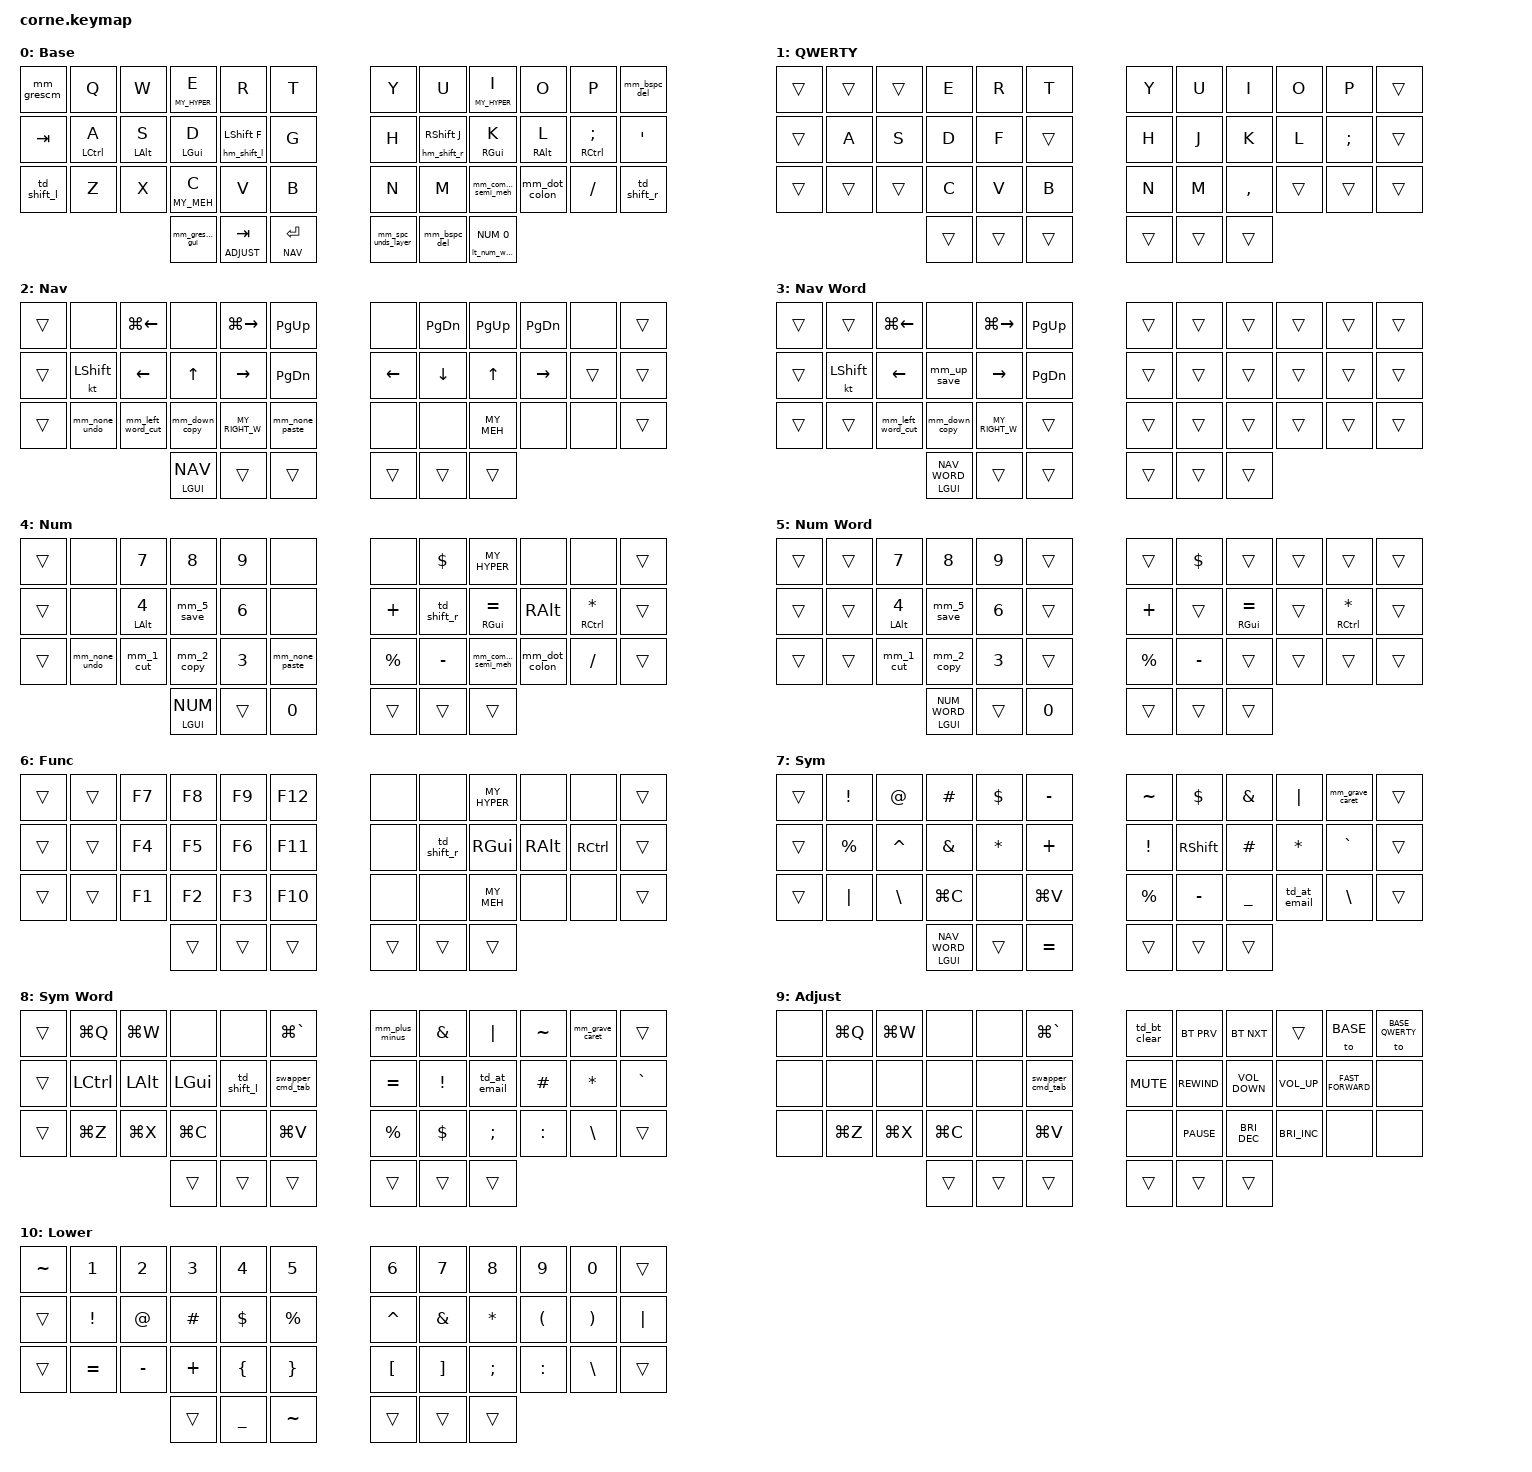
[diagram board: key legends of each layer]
/*
 * Copyright (c) 2020 The ZMK Contributors
 *
 * SPDX-License-Identifier: MIT
 */

// Define layer numbers
#define BASE 0
#define BASE_QWERTY 1
#define NAV 2
#define NAV_WORD 3
#define NUM 4
#define NUM_WORD 5
#define FUNC 6
#define SYM 7
#define SYM_WORD 8
#define ADJUST 9
#define LOWER 10

// ZMK includes
#include <behaviors.dtsi>
#include <dt-bindings/zmk/keys.h>
#include <dt-bindings/zmk/bt.h>
// #include <dt-bindings/zmk/rgb.h>
// #include <dt-bindings/zmk/ext_power.h>

// Personal includes
#include "includes/custom_keycodes.dtsi"
#include "includes/settings.dtsi"
//#include "includes/settings_pd.dtsi"
#include "includes/conditional_layers.dtsi"
#include "includes/macros.dtsi"
#include "includes/combos.dtsi"
#include "includes/behaviours_homerow_mods.dtsi"
#include "includes/behaviours_mod_morph.dtsi"
#include "includes/behaviours_other.dtsi"


/ {

  keymap {
    compatible = "zmk,keymap";

    Base_layer {
      label = "Base";
      bindings = <
// ╭────────────────────────╮ ╭────────────────────────┬────────────────────────┬────────────────────────┬────────────────────────┬────────────────────────╮    ╭────────────────────────┬────────────────────────┬────────────────────────┬────────────────────────┬────────────────────────╮ ╭────────────────────────╮
     &mm_grescm                 &kp Q                    &kp W                    &hm_l MY_HYPER E         &kp R                       &kp T                             &kp Y                    &kp U                   &hm_r MY_HYPER I        &kp O                   &kp P                        &mm_bspc_del
// ├────────────────────────┤ ├────────────────────────┼────────────────────────┼────────────────────────┼────────────────────────┼────────────────────────┤    ├────────────────────────┼────────────────────────┼────────────────────────┼────────────────────────┼────────────────────────┤ ├────────────────────────┤
     &kp TAB                    &hm_l LCTRL A            &hm_l LALT S             &hm_l LGUI D             &hm_shift_l LSHFT F      &kp G                            &kp H                   &hm_shift_r RSHFT J      &hm_r RGUI K             &hm_r RALT L             &hm_r RCTRL SEMI              &kp SINGLE_QUOTE
// ├────────────────────────┤ ├────────────────────────┼────────────────────────┼────────────────────────┼────────────────────────┼────────────────────────┤    ├────────────────────────┼────────────────────────┼────────────────────────┼────────────────────────┼────────────────────────┤ ├────────────────────────┤
     &td_shift_l                &kp Z                    &kp X                    &hm_l MY_MEH C           &kp V                    &kp B                            &kp N                    &kp M                    &mm_comma_semi_meh       &mm_dot_colon            &kp SLASH                  &td_shift_r
// ╰────────────────────────╯ ╰────────────────────────┴────────────────────────┴────────────────────────┼────────────────────────┼────────────────────────┤    ├────────────────────────┼────────────────────────┼────────────────────────┼────────────────────────┴────────────────────────╯ ╰────────────────────────╯
                                                                                  &mm_grescm_gui                 &lt ADJUST TAB         &lt NAV RETURN              &mm_spc_unds_layer       &mm_bspc_del              &lt_num_word NUM 0
//                                                                              ╰────────────────────────┴────────────────────────┴────────────────────────╯    ╰────────────────────────┴────────────────────────┴────────────────────────╯

      > ;
     //  sensor-bindings = <&inc_dec_kp C_VOL_DN C_VOL_UP &inc_dec_kp C_PREV C_NEXT>;
    };

    Base_Qwerty_layer {
      label = "QWERTY";
      bindings = <
// ╭────────────────────────╮ ╭────────────────────────┬────────────────────────┬────────────────────────┬────────────────────────┬────────────────────────╮    ╭────────────────────────┬────────────────────────┬────────────────────────┬────────────────────────┬────────────────────────╮ ╭────────────────────────╮
     &trans                     &trans                   &trans                   &kp E                    &kp R                    &kp T                         &kp Y                    &kp U                    &kp I                    &kp O                    &kp P                      &trans
// ├────────────────────────┤ ├────────────────────────┼────────────────────────┼────────────────────────┼────────────────────────┼────────────────────────┤    ├────────────────────────┼────────────────────────┼────────────────────────┼────────────────────────┼────────────────────────┤ ├────────────────────────┤
     &trans                     &kp A                    &kp S                    &kp D                    &kp F                    &trans                        &kp H                    &kp J                    &kp K                    &kp L                    &kp SEMICOLON              &trans
// ├────────────────────────┤ ├────────────────────────┼────────────────────────┼────────────────────────┼────────────────────────┼────────────────────────┤    ├────────────────────────┼────────────────────────┼────────────────────────┼────────────────────────┼────────────────────────┤ ├────────────────────────┤
     &trans                     &trans                   &trans                   &kp C                    &kp V                    &kp B                         &kp N                    &kp M                    &kp COMMA                &trans                   &trans                     &trans
// ╰────────────────────────╯ ╰────────────────────────┴────────────────────────┴────────────────────────┼────────────────────────┼────────────────────────┤    ├────────────────────────┼────────────────────────┼────────────────────────┼────────────────────────┴────────────────────────╯ ╰────────────────────────╯
                                                                                  &trans                   &trans                   &trans                        &trans                   &trans                   &trans
//                                                                              ╰────────────────────────┴────────────────────────┴────────────────────────╯    ╰────────────────────────┴────────────────────────┴────────────────────────╯
      >;
    };

    Nav_layer {
      label = "Nav";
      bindings = <
// ╭────────────────────────╮ ╭────────────────────────┬────────────────────────┬────────────────────────┬────────────────────────┬────────────────────────╮    ╭────────────────────────┬────────────────────────┬────────────────────────┬────────────────────────┬────────────────────────╮ ╭────────────────────────╮
     &trans                     &none                    &kp LG(LEFT)             &none                    &kp LG(RIGHT)            &kp PG_UP                     &none                    &kp PAGE_DOWN            &kp PAGE_UP                &kp PAGE_DOWN                    &none                      &trans
// ├────────────────────────┤ ├────────────────────────┼────────────────────────┼────────────────────────┼────────────────────────┼────────────────────────┤    ├────────────────────────┼────────────────────────┼────────────────────────┼────────────────────────┼────────────────────────┤ ├────────────────────────┤
     &trans                     &kt LSHFT                &kp LEFT                 &kp UP                   &kp RIGHT                &kp PG_DN                        &kp LEFT                     &kp DOWN                   &kp UP           &kp RIGHT                &trans                      &trans
// ├────────────────────────┤ ├────────────────────────┼────────────────────────┼────────────────────────┼────────────────────────┼────────────────────────┤    ├────────────────────────┼────────────────────────┼────────────────────────┼────────────────────────┼────────────────────────┤ ├────────────────────────┤
     &trans                     &mm_none_undo            &mm_left_word_cut        &mm_down_copy            &kp MY_RIGHT_W           &mm_none_paste                &none                    &none                    &kp MY_MEH              &none                    &none                      &trans
// ╰────────────────────────╯ ╰────────────────────────┴────────────────────────┴────────────────────────┼────────────────────────┼────────────────────────┤    ├────────────────────────┼────────────────────────┼────────────────────────┼────────────────────────┴────────────────────────╯ ╰────────────────────────╯
                                                                                  &ltog LGUI NAV           &trans                   &trans                        &trans                   &trans                   &trans
//                                                                              ╰────────────────────────┴────────────────────────┴────────────────────────╯    ╰────────────────────────┴────────────────────────┴────────────────────────╯
      >;
     //  sensor-bindings = <&inc_dec_kp C_BRI_DN C_BRI_UP &inc_dec_kp LEFT RIGHT>;
    };

    Nav_Word_layer {
      label = "Nav Word";
      bindings = <
// ╭────────────────────────╮ ╭────────────────────────┬────────────────────────┬────────────────────────┬────────────────────────┬────────────────────────╮    ╭────────────────────────┬────────────────────────┬────────────────────────┬────────────────────────┬────────────────────────╮ ╭────────────────────────╮
     &trans                     &trans                   &kp LG(LEFT)             &none                    &kp LG(RIGHT)            &kp PG_UP                     &trans                   &trans                   &trans                   &trans                   &trans                     &trans
// ├────────────────────────┤ ├────────────────────────┼────────────────────────┼────────────────────────┼────────────────────────┼────────────────────────┤    ├────────────────────────┼────────────────────────┼────────────────────────┼────────────────────────┼────────────────────────┤ ├────────────────────────┤
     &trans                     &kt LSHFT                &kp LEFT                 &mm_up_save              &kp RIGHT                &kp PG_DN                     &trans                   &trans                   &trans                   &trans                   &trans                     &trans
// ├────────────────────────┤ ├────────────────────────┼────────────────────────┼────────────────────────┼────────────────────────┼────────────────────────┤    ├────────────────────────┼────────────────────────┼────────────────────────┼────────────────────────┼────────────────────────┤ ├────────────────────────┤
     &trans                     &trans                   &mm_left_word_cut        &mm_down_copy            &kp MY_RIGHT_W           &trans                        &trans                   &trans                   &trans                   &trans                   &trans                     &trans
// ╰────────────────────────╯ ╰────────────────────────┴────────────────────────┴────────────────────────┼────────────────────────┼────────────────────────┤    ├────────────────────────┼────────────────────────┼────────────────────────┼────────────────────────┴────────────────────────╯ ╰────────────────────────╯
                                                                                  &ltog LGUI NAV_WORD      &trans                   &trans                        &trans                   &trans                   &trans
//                                                                              ╰────────────────────────┴────────────────────────┴────────────────────────╯    ╰────────────────────────┴────────────────────────┴────────────────────────╯
      >;
     //  sensor-bindings = <&inc_dec_kp C_BRI_DN C_BRI_UP &inc_dec_kp LEFT RIGHT>;
    };

    Num_layer {
      label = "Num";
      bindings = <
// ╭────────────────────────╮ ╭────────────────────────┬────────────────────────┬────────────────────────┬────────────────────────┬────────────────────────╮    ╭────────────────────────┬────────────────────────┬────────────────────────┬────────────────────────┬────────────────────────╮ ╭────────────────────────╮
     &trans                     &none                    &kp NUMBER_7             &kp NUMBER_8             &kp NUMBER_9             &none                         &none                    &kp DOLLAR               &kp MY_HYPER             &none                    &none                      &trans
// ├────────────────────────┤ ├────────────────────────┼────────────────────────┼────────────────────────┼────────────────────────┼────────────────────────┤    ├────────────────────────┼────────────────────────┼────────────────────────┼────────────────────────┼────────────────────────┤ ├────────────────────────┤
     &trans                     &none                    &hm_l LALT NUMBER_4      &mm_5_save               &kp NUMBER_6             &none                         &kp PLUS                 &td_shift_r              &hm_r RGUI EQUAL         &kp RIGHT_ALT            &hm_r RCTRL ASTERISK       &trans
// ├────────────────────────┤ ├────────────────────────┼────────────────────────┼────────────────────────┼────────────────────────┼────────────────────────┤    ├────────────────────────┼────────────────────────┼────────────────────────┼────────────────────────┼────────────────────────┤ ├────────────────────────┤
     &trans                     &mm_none_undo            &mm_1_cut                &mm_2_copy               &kp NUMBER_3             &mm_none_paste                &kp PERCENT              &kp MINUS                &mm_comma_semi_meh       &mm_dot_colon            &kp SLASH                  &trans
// ╰────────────────────────╯ ╰────────────────────────┴────────────────────────┴────────────────────────┼────────────────────────┼────────────────────────┤    ├────────────────────────┼────────────────────────┼────────────────────────┼────────────────────────┴────────────────────────╯ ╰────────────────────────╯
                                                                                  &ltog LGUI NUM           &trans                   &kp NUMBER_0                  &trans                   &trans                   &trans
//                                                                              ╰────────────────────────┴────────────────────────┴────────────────────────╯    ╰────────────────────────┴────────────────────────┴────────────────────────╯
      >;
     //  sensor-bindings = <&inc_dec_kp C_BRI_DN C_BRI_UP &inc_dec_kp LEFT RIGHT>;
    };

    Num_Word_layer {
      label = "Num Word";
      bindings = <
// ╭────────────────────────╮ ╭────────────────────────┬────────────────────────┬────────────────────────┬────────────────────────┬────────────────────────╮    ╭────────────────────────┬────────────────────────┬────────────────────────┬────────────────────────┬────────────────────────╮ ╭────────────────────────╮
     &trans                     &trans                   &kp NUMBER_7             &kp NUMBER_8             &kp NUMBER_9             &trans                        &trans                   &kp DOLLAR               &trans                   &trans                   &trans                     &trans
// ├────────────────────────┤ ├────────────────────────┼────────────────────────┼────────────────────────┼────────────────────────┼────────────────────────┤    ├────────────────────────┼────────────────────────┼────────────────────────┼────────────────────────┼────────────────────────┤ ├────────────────────────┤
     &trans                     &trans                   &hm_l LALT NUMBER_4      &mm_5_save               &kp NUMBER_6             &trans                        &kp PLUS                 &trans                   &hm_r RGUI EQUAL         &trans                   &hm_r RCTRL ASTERISK       &trans
// ├────────────────────────┤ ├────────────────────────┼────────────────────────┼────────────────────────┼────────────────────────┼────────────────────────┤    ├────────────────────────┼────────────────────────┼────────────────────────┼────────────────────────┼────────────────────────┤ ├────────────────────────┤
     &trans                     &trans                   &mm_1_cut                &mm_2_copy               &kp NUMBER_3             &trans                        &kp PERCENT              &kp MINUS                &trans                   &trans                   &trans                     &trans
// ╰────────────────────────╯ ╰────────────────────────┴────────────────────────┴────────────────────────┼────────────────────────┼────────────────────────┤    ├────────────────────────┼────────────────────────┼────────────────────────┼────────────────────────┴────────────────────────╯ ╰────────────────────────╯
                                                                                  &ltog LGUI NUM_WORD      &trans                   &kp NUMBER_0                  &trans                   &trans                   &trans
//                                                                              ╰────────────────────────┴────────────────────────┴────────────────────────╯    ╰────────────────────────┴────────────────────────┴────────────────────────╯
      >;
     //  sensor-bindings = <&inc_dec_kp C_BRI_DN C_BRI_UP &inc_dec_kp LEFT RIGHT>;
    };

    Func_layer {
      label = "Func";
      bindings = <
// ╭────────────────────────╮ ╭────────────────────────┬────────────────────────┬────────────────────────┬────────────────────────┬────────────────────────╮    ╭────────────────────────┬────────────────────────┬────────────────────────┬────────────────────────┬────────────────────────╮ ╭────────────────────────╮
        &trans                  &trans                   &kp F7                   &kp F8                   &kp F9                   &kp F12                       &none                    &none                    &kp MY_HYPER             &none                    &none                      &trans
// ├────────────────────────┤ ├────────────────────────┼────────────────────────┼────────────────────────┼────────────────────────┼────────────────────────┤    ├────────────────────────┼────────────────────────┼────────────────────────┼────────────────────────┼────────────────────────┤ ├────────────────────────┤
        &trans                  &trans                   &kp F4                   &kp F5                   &kp F6                   &kp F11                       &none                    &td_shift_r              &kp RIGHT_GUI            &kp RIGHT_ALT            &kp RIGHT_CONTROL          &trans
// ├────────────────────────┤ ├────────────────────────┼────────────────────────┼────────────────────────┼────────────────────────┼────────────────────────┤    ├────────────────────────┼────────────────────────┼────────────────────────┼────────────────────────┼────────────────────────┤ ├────────────────────────┤
        &trans                  &trans                   &kp F1                   &kp F2                   &kp F3                   &kp F10                       &none                    &none                    &kp MY_MEH               &none                    &none                      &trans
// ╰────────────────────────╯ ╰────────────────────────┴────────────────────────┴────────────────────────┼────────────────────────┼────────────────────────┤    ├────────────────────────┼────────────────────────┼────────────────────────┼────────────────────────┴────────────────────────╯ ╰────────────────────────╯
                                                                                  &trans                   &trans                   &trans                        &trans                   &trans                   &trans
//                                                                              ╰────────────────────────┴────────────────────────┴────────────────────────╯    ╰────────────────────────┴────────────────────────┴────────────────────────╯
      >;
     //  sensor-bindings = <&inc_dec_kp C_BRI_DN C_BRI_UP &inc_dec_kp LEFT RIGHT>;
    };

    Sym_layer {
      label = "Sym";
      bindings = <
// ╭────────────────────────╮ ╭────────────────────────┬────────────────────────┬────────────────────────┬────────────────────────┬────────────────────────╮    ╭────────────────────────┬────────────────────────┬────────────────────────┬────────────────────────┬────────────────────────╮ ╭────────────────────────╮
     &trans                     &kp EXCLAMATION               &kp AT_SIGN               &kp HASH                    &kp DOLLAR              &kp MINUS                 &kp TILDE                &kp DOLLAR               &kp AMPERSAND            &kp PIPE                 &mm_grave_caret            &trans
// ├────────────────────────┤ ├────────────────────────┼────────────────────────┼────────────────────────┼────────────────────────┼────────────────────────┤    ├────────────────────────┼────────────────────────┼────────────────────────┼────────────────────────┼────────────────────────┤ ├────────────────────────┤
     &trans                     &kp PERCENT                  &kp CARET             &kp AMPERSAND             &kp ASTERISK              &kp PLUS                     &kp EXCLAMATION          &kp RSHFT                &kp HASH                 &kp ASTERISK               &kp GRAVE                    &trans
// ├────────────────────────┤ ├────────────────────────┼────────────────────────┼────────────────────────┼────────────────────────┼────────────────────────┤    ├────────────────────────┼────────────────────────┼────────────────────────┼────────────────────────┼────────────────────────┤ ├────────────────────────┤
     &trans                     &kp PIPE                &kp BACKSLASH                 &kp LG(C)                &none                       &kp LG(V)                         &kp PERCENT              &kp MINUS                &kp UNDERSCORE           &td_at_email             &kp BACKSLASH              &trans
// ╰────────────────────────╯ ╰────────────────────────┴────────────────────────┴────────────────────────┼────────────────────────┼────────────────────────┤    ├────────────────────────┼────────────────────────┼────────────────────────┼────────────────────────┴────────────────────────╯ ╰────────────────────────╯
                                                                                  &ltog LGUI NAV_WORD      &trans                   &kp EQUAL                        &trans                   &trans                   &trans
//                                                                              ╰────────────────────────┴────────────────────────┴────────────────────────╯    ╰────────────────────────┴────────────────────────┴────────────────────────╯
      >;
     //  sensor-bindings = <&inc_dec_kp C_BRI_DN C_BRI_UP &inc_dec_kp LEFT RIGHT>;
    };

    Sym_Word_layer {
      label = "Sym Word";
      bindings = <
// ╭────────────────────────╮ ╭────────────────────────┬────────────────────────┬────────────────────────┬────────────────────────┬────────────────────────╮    ╭────────────────────────┬────────────────────────┬────────────────────────┬────────────────────────┬────────────────────────╮ ╭────────────────────────╮
     &trans                     &kp LG(Q)                &kp LG(W)                &none                    &none                    &kp LG(GRAVE)                 &mm_plus_minus           &kp AMPERSAND            &kp PIPE                 &kp TILDE                &mm_grave_caret            &trans
// ├────────────────────────┤ ├────────────────────────┼────────────────────────┼────────────────────────┼────────────────────────┼────────────────────────┤    ├────────────────────────┼────────────────────────┼────────────────────────┼────────────────────────┼────────────────────────┤ ├────────────────────────┤
     &trans                     &kp LEFT_CONTROL         &kp LEFT_ALT             &kp LEFT_GUI             &td_shift_l              &swapper_cmd_tab              &kp EQUAL                &kp EXCLAMATION          &td_at_email             &kp HASH                 &kp ASTERISK               &kp GRAVE
// ├────────────────────────┤ ├────────────────────────┼────────────────────────┼────────────────────────┼────────────────────────┼────────────────────────┤    ├────────────────────────┼────────────────────────┼────────────────────────┼────────────────────────┼────────────────────────┤ ├────────────────────────┤
     &trans                     &kp LG(Z)                &kp LG(X)                &kp LG(C)                &none                    &kp LG(V)                     &kp PERCENT              &kp DOLLAR               &kp SEMICOLON            &kp COLON                &kp BACKSLASH              &trans
// ╰────────────────────────╯ ╰────────────────────────┴────────────────────────┴────────────────────────┼────────────────────────┼────────────────────────┤    ├────────────────────────┼────────────────────────┼────────────────────────┼────────────────────────┴────────────────────────╯ ╰────────────────────────╯
                                                                                  &trans                   &trans                   &trans                        &trans                   &trans                   &trans
//                                                                              ╰────────────────────────┴────────────────────────┴────────────────────────╯    ╰────────────────────────┴────────────────────────┴────────────────────────╯
      >;
     //  sensor-bindings = <&inc_dec_kp C_BRI_DN C_BRI_UP &inc_dec_kp LEFT RIGHT>;
    };

    Adjust_layer {
      label = "Adjust";
      bindings = <
// ╭────────────────────────╮ ╭────────────────────────┬────────────────────────┬────────────────────────┬────────────────────────┬────────────────────────╮    ╭────────────────────────┬────────────────────────┬────────────────────────┬────────────────────────┬────────────────────────╮ ╭────────────────────────╮
     &none                      &kp LG(Q)                &kp LG(W)                &none                    &none                    &kp LG(GRAVE)                 &td_bt_clear             &bt BT_PRV               &bt BT_NXT               &trans                            &to BASE            &to BASE_QWERTY
// ├────────────────────────┤ ├────────────────────────┼────────────────────────┼────────────────────────┼────────────────────────┼────────────────────────┤    ├────────────────────────┼────────────────────────┼────────────────────────┼────────────────────────┼────────────────────────┤ ├────────────────────────┤
     &none                      &none                    &none                    &none                    &none                    &swapper_cmd_tab              &kp C_MUTE               &kp C_REWIND             &kp C_VOLUME_DOWN        &kp C_VOLUME_UP          &kp C_FAST_FORWARD         &none

// ├────────────────────────┤ ├────────────────────────┼────────────────────────┼────────────────────────┼────────────────────────┼────────────────────────┤    ├────────────────────────┼────────────────────────┼────────────────────────┼────────────────────────┼────────────────────────┤ ├────────────────────────┤
     &none                      &kp LG(Z)                &kp LG(X)                &kp LG(C)                &none                    &kp LG(V)                     &none                    &kp C_PAUSE              &kp C_BRIGHTNESS_DEC     &kp C_BRIGHTNESS_INC     &none                      &none

// ╰────────────────────────╯ ╰────────────────────────┴────────────────────────┴────────────────────────┼────────────────────────┼────────────────────────┤    ├────────────────────────┼────────────────────────┼────────────────────────┼────────────────────────┴────────────────────────╯ ╰────────────────────────╯
                                                                                  &trans                   &trans                   &trans                        &trans                   &trans                   &trans
//                                                                              ╰────────────────────────┴────────────────────────┴────────────────────────╯    ╰────────────────────────┴────────────────────────┴────────────────────────╯
      >;
     //  sensor-bindings = <&inc_dec_kp C_BRI_DN C_BRI_UP &inc_dec_kp LEFT RIGHT>;
    };

    Lower_layer {
      label = "Lower";
      bindings = <
// ╭────────────────────────╮ ╭────────────────────────┬────────────────────────┬────────────────────────┬────────────────────────┬────────────────────────╮    ╭────────────────────────┬────────────────────────┬────────────────────────┬────────────────────────┬────────────────────────╮ ╭────────────────────────╮
     &kp TILDE                  &kp NUMBER_1             &kp NUMBER_2             &kp NUMBER_3             &kp NUMBER_4             &kp NUMBER_5                  &kp NUMBER_6             &kp NUMBER_7             &kp NUMBER_8             &kp NUMBER_9             &kp NUMBER_0               &trans

// ├────────────────────────┤ ├────────────────────────┼────────────────────────┼────────────────────────┼────────────────────────┼────────────────────────┤    ├────────────────────────┼────────────────────────┼────────────────────────┼────────────────────────┼────────────────────────┤ ├────────────────────────┤
     &trans                     &kp EXCLAMATION          &kp AT_SIGN              &kp HASH                 &kp DOLLAR               &kp PERCENT                   &kp CARET                &kp AMPERSAND            &kp ASTERISK             &kp LEFT_PARENTHESIS     &kp RIGHT_PARENTHESIS      &kp PIPE

// ├────────────────────────┤ ├────────────────────────┼────────────────────────┼────────────────────────┼────────────────────────┼────────────────────────┤    ├────────────────────────┼────────────────────────┼────────────────────────┼────────────────────────┼────────────────────────┤ ├────────────────────────┤
     &trans                     &kp EQUAL                &kp MINUS                &kp PLUS                 &kp LEFT_BRACE           &kp RIGHT_BRACE               &kp LEFT_BRACKET         &kp RIGHT_BRACKET        &kp SEMICOLON            &kp COLON                &kp BACKSLASH              &trans
// ╰────────────────────────╯ ╰────────────────────────┴────────────────────────┴────────────────────────┼────────────────────────┼────────────────────────┤    ├────────────────────────┼────────────────────────┼────────────────────────┼────────────────────────┴────────────────────────╯ ╰────────────────────────╯
                                                                                  &trans                   &kp UNDERSCORE           &kp TILDE                     &trans                    &trans                  &trans
//                                                                              ╰────────────────────────┴────────────────────────┴────────────────────────╯    ╰────────────────────────┴────────────────────────┴────────────────────────╯
      >;
     //  sensor-bindings = <&inc_dec_kp C_BRI_DN C_BRI_UP &inc_dec_kp LEFT RIGHT>;
    };
  };

};
